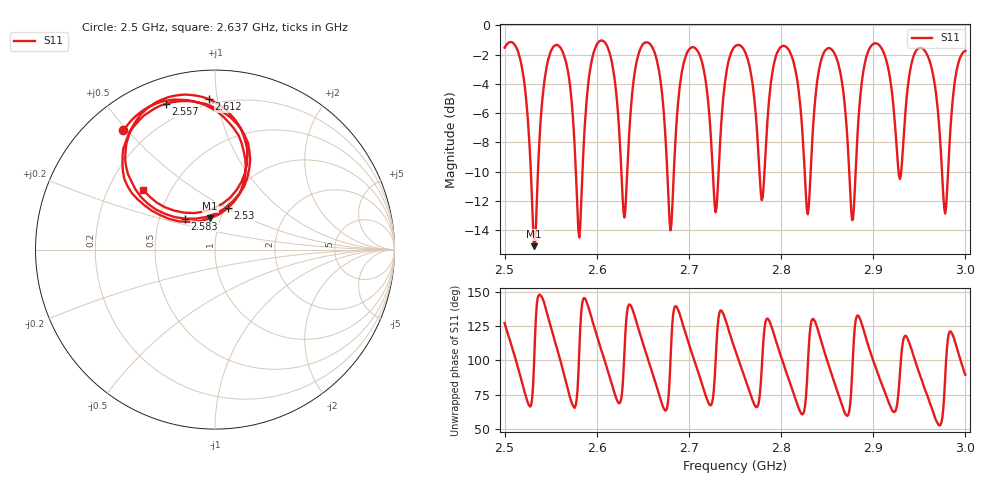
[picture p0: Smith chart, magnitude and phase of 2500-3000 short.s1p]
! NanoVNA-App by SYSJOINT et al v1.1.209 (+OD18)
! Date: 2025-09-17 10:38:50
! Start: 2.5GHz Stop: 3GHz Points: 501
! S-Parameter data: F S11
# Hz S RI R 50
!  Frequency  S11_Real  S11_Imag
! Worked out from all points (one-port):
!   501 points, 2.5 GHz to 3 GHz, reference 50 ohm
!   lowest |S11| = -15.1 dB at 2.532 GHz (marker M1), VSWR 1.43, Z = 44.7 + j16 ohm
!   |S11| at or under -10 dB: 2.52848 GHz to 2.536189 GHz (7.708 MHz wide, 0.304 % of centre); 2.577308 GHz to 2.584522 GHz (7.213 MHz wide, 0.279 % of centre); 2.626696 GHz to 2.633078 GHz (6.382 MHz wide, 0.243 % of centre) (the widest 3 of 10)
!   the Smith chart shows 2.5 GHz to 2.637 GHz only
!   S11 on the Smith chart (normalised r, x): 2.5 GHz: 0.11, +0.49; 2.53 GHz: 1.03, +0.50; 2.557 GHz: 0.12, +0.71; 2.583 GHz: 0.68, +0.25; 2.612 GHz: 0.17, +0.95; 2.637 GHz: 0.35, +0.32
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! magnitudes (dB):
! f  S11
! 2.5 GHz  -1.5
! 2.519 GHz  -2.9
! 2.53 GHz  -12.4
! 2.532 GHz  -15.1
! 2.557 GHz  -1.3
! 2.563 GHz  -1.8
! 2.583 GHz  -12.4
! 2.594 GHz  -2.6
! 2.612 GHz  -1.5
! 2.625 GHz  -7.9
! 2.637 GHz  -5.7
! 2.662 GHz  -1.7
! 2.68 GHz  -14.0
! 2.688 GHz  -5.4
! 2.712 GHz  -2.1
! 2.729 GHz  -12.8
! 2.75 GHz  -1.4
! 2.779 GHz  -12.0
! 2.813 GHz  -2.4
! 2.829 GHz  -12.9
! 2.851 GHz  -1.6
! 2.875 GHz  -11.3
! 2.896 GHz  -1.6
! 2.929 GHz  -10.5
! 2.938 GHz  -4.0
! 2.961 GHz  -2.4
! 2.978 GHz  -12.9
! 3 GHz  -1.8
